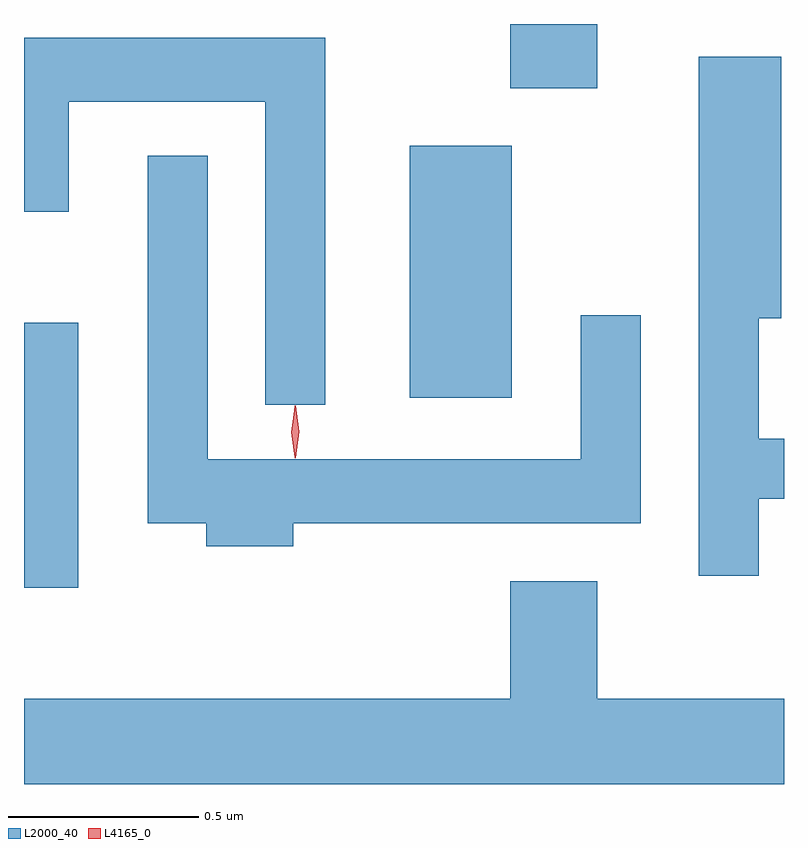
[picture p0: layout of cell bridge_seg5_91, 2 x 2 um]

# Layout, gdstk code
import gdstk
lib = gdstk.Library(unit=1e-6, precision=1e-09)
def R(c, l, rs):  # rectangles x0, y0, x1, y1
    for r in rs: c.add(gdstk.rectangle(r[:2], r[2:], *l))
def P(c, l, *ps):  # polygons
    for p in ps: c.add(gdstk.Polygon(p, *l))
L2000_40 = (2000, 40)
L4165_0 = (4165, 0)

bridge_seg5_91 = lib.new_cell('bridge_seg5_91')
R(bridge_seg5_91, L2000_40, [(1186.231,1503.976,1186.374,1504.674), (1187.246,1504.476,1187.514,1505.139), (1187.511,1505.291,1187.739,1505.46)])
P(bridge_seg5_91, L2000_40, [(1187.024,1505.424),(1186.231,1505.424),(1186.231,1504.966),(1186.349,1504.966),(1186.349,1505.256),(1186.866,1505.256),(1186.866,1504.458),(1187.024,1504.458)],
  [(1188.164,1504.211),(1188.231,1504.211),(1188.231,1504.369),(1188.164,1504.369),(1188.164,1504.686),(1188.224,1504.686),(1188.224,1505.374),(1188.006,1505.374),(1188.006,1504.008),(1188.164,1504.008)],
  [(1186.939,1504.146),(1187.854,1504.146),(1187.854,1504.693),(1187.696,1504.693),(1187.696,1504.314),(1186.714,1504.314),(1186.714,1505.113),(1186.556,1505.113),(1186.556,1504.146),(1186.711,1504.146),(1186.711,1504.086),(1186.939,1504.086)],
  [(1188.231,1503.684),(1187.739,1503.684),(1187.739,1503.994),(1187.511,1503.994),(1187.511,1503.684),(1186.231,1503.684),(1186.231,1503.46),(1188.231,1503.46)])
P(bridge_seg5_91, L4165_0, [(1186.945,1504.317),(1186.944,1504.318),(1186.935,1504.387),(1186.944,1504.456),(1186.945,1504.456),(1186.946,1504.456),(1186.955,1504.387),(1186.946,1504.318)],
  [(1186.943,1504.32),(1186.934,1504.386),(1186.943,1504.452),(1186.944,1504.453),(1186.944,1504.452),(1186.954,1504.386),(1186.944,1504.32),(1186.944,1504.32)])

lib.write_gds('bridge_seg5_91.gds')
